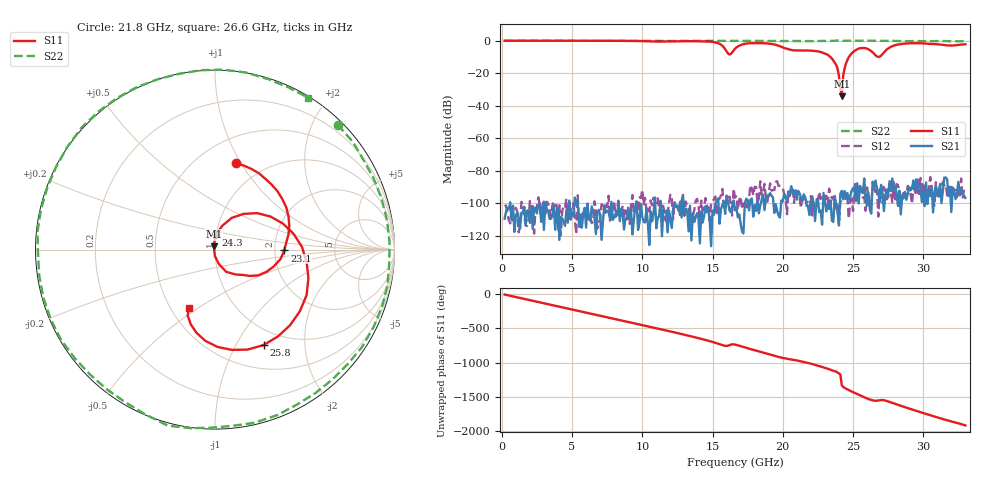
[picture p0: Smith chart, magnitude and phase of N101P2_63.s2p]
# GHZ S RI R 50
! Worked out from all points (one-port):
!   329 points, 200 MHz to 33 GHz, reference 50 ohm
!   lowest |S11| = -34.2 dB at 24.2 GHz (marker M1), VSWR 1.04, Z = 49.3 + j1.79 ohm
!   |S11| at or under -10 dB: 23.39 GHz to 24.71 GHz (1.324 GHz wide, 5.5 % of centre)
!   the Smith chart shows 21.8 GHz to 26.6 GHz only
!   S11 on the Smith chart (normalised r, x): 21.8 GHz: 0.75, +0.96; 23.1 GHz: 2.26, -0.03; 24.3 GHz: 0.99, +0.16; 25.8 GHz: 0.79, -1.31; 26.6 GHz: 0.62, -0.46
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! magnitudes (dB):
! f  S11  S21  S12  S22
! 200 MHz  0.0  -109.3  -101.8  0.0
! 5.7 GHz  0.0  -114.9  -104.7  0.0
! 11.2 GHz  -0.6  -107.9  -103.6  -0.1
! 15.1 GHz  -0.9  -106.9  -97.4  0.0
! 15.7 GHz  -3.1  -101.0  -91.1  0.0
! 16.2 GHz  -8.5  -104.1  -95.8  -0.1
! 16.6 GHz  -5.0  -104.2  -96.4  -0.1
! 18.4 GHz  -1.5  -101.2  -86.4  -0.2
! 21.8 GHz  -6.1  -101.5  -99.1  -0.2
! 22.1 GHz  -6.2  -95.6  -107.4  -0.3
! 23.1 GHz  -8.3  -104.9  -95.2  -0.2
! 23.9 GHz  -17.2  -105.8  -99.2  0.1
! 24.2 GHz  -34.2  -92.2  -98.0  -0.1
! 24.3 GHz  -21.7  -97.5  -98.7  -0.1
! 24.5 GHz  -14.0  -97.2  -95.0  -0.1
! 24.8 GHz  -8.9  -95.8  -98.8  -0.1
! 25.8 GHz  -4.5  -84.6  -95.9  0.0
! 26.6 GHz  -9.0  -86.0  -93.0  -0.1
! 26.9 GHz  -9.8  -98.8  -91.8  -0.1
! 27.6 GHz  -4.3  -86.3  -93.8  -0.1
! 29 GHz  -1.6  -90.0  -91.6  -0.3
! 33 GHz  -2.2  -96.6  -91.5  -0.2
